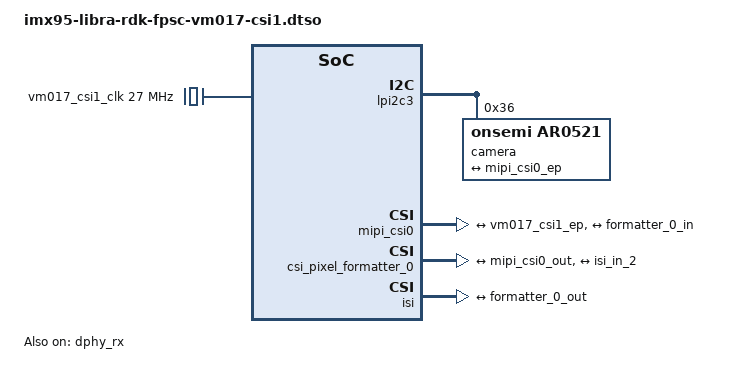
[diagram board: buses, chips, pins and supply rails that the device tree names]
// SPDX-License-Identifier: (GPL-2.0+ OR MIT)
/*
 * Copyright (C) 2025 PHYTEC Messtechnik GmbH
 * Author: Stefan Riedmüller <s.riedmueller@phytec.de>
 */

/dts-v1/;
/plugin/;

&{/} {
	vm017_csi1_clk: vm017-csi1-ext-clk {
		#clock-cells = <0>;
		compatible = "fixed-clock";
		clock-frequency = <27000000>;
	};
};

&lpi2c3 {
	#address-cells = <1>;
	#size-cells = <0>;
	status = "okay";

	camera@36 {
		#address-cells = <0x1>;
		#size-cells = <0x0>;

		compatible = "onsemi,ar0521";
		reg = <0x36>;
		clocks = <&vm017_csi1_clk>;
		clock-names = "ext";
		isp-bus-info = "csi0";

		port@0 {
			reg = <0>;

			vm017_csi1_ep: endpoint {
				remote-endpoint = <&mipi_csi0_ep>;
				bus-type = <4>; /* MIPI CSI-2 D-PHY */
				link-frequencies = /bits/ 64 <504000000>;
				data-lanes = <1 2 3 4>;
				clock-lanes = <0>;
				clock-noncontinuous = <1>;
			};
		};
	};
};

&dphy_rx {
	status = "okay";
};

&mipi_csi0 {
	status = "okay";

	ports {
		#address-cells = <1>;
		#size-cells = <0>;

		port@0 {
			reg = <0>;
			mipi_csi0_ep: endpoint {
				remote-endpoint = <&vm017_csi1_ep>;
				data-lanes = <1 2 3 4>;
				clock-lanes = <0>;
			};
		};

		port@1 {
			reg = <1>;
				mipi_csi0_out: endpoint {
				remote-endpoint = <&formatter_0_in>;
			};
		};
	};
};

&csi_pixel_formatter_0 {
	status = "okay";

	ports {
		#address-cells = <1>;
		#size-cells = <0>;

		port@0 {
			reg = <0>;

			formatter_0_in: endpoint {
				remote-endpoint = <&mipi_csi0_out>;
			};
		};

		port@1 {
			reg = <1>;

			formatter_0_out: endpoint {
				remote-endpoint = <&isi_in_2>;
			};
		};
	};
};

&isi {
	status = "okay";
	dma-coherent;

	ports {
		#address-cells = <1>;
		#size-cells = <0>;

		port@2 {
			reg = <2>;

			isi_in_2: endpoint {
				remote-endpoint = <&formatter_0_out>;
			};
		};
	};
};
